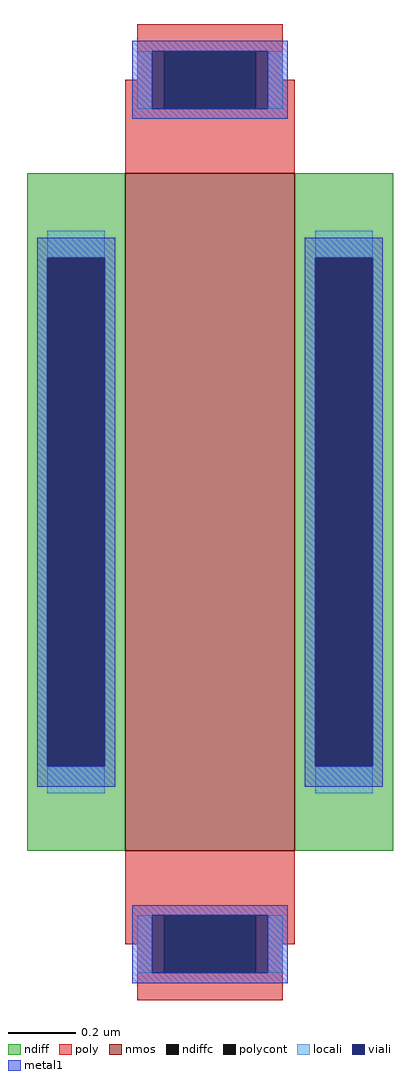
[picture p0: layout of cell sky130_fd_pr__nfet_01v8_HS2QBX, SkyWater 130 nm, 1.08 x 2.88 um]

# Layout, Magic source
magic
tech sky130A
magscale 1 2
<< nmos >>
rect -50 -200 50 200
<< ndiff >>
rect -108 150 -50 200
rect -108 -150 -96 150
rect -62 -150 -50 150
rect -108 -200 -50 -150
rect 50 150 108 200
rect 50 -150 62 150
rect 96 -150 108 150
rect 50 -200 108 -150
<< ndiffc >>
rect -96 -150 -62 150
rect 62 -150 96 150
<< poly >>
rect -43 272 43 288
rect -43 255 -27 272
rect -50 238 -27 255
rect 27 255 43 272
rect 27 238 50 255
rect -50 200 50 238
rect -50 -238 50 -200
rect -50 -255 -27 -238
rect -43 -272 -27 -255
rect 27 -255 50 -238
rect 27 -272 43 -255
rect -43 -288 43 -272
<< polycont >>
rect -27 238 27 272
rect -27 -272 27 -238
<< locali >>
rect -43 238 -34 272
rect 34 238 43 272
rect -96 150 -62 166
rect -96 -166 -62 -150
rect 62 150 96 166
rect 62 -166 96 -150
rect -43 -272 -34 -238
rect 34 -272 43 -238
<< viali >>
rect -34 238 -27 272
rect -27 238 27 272
rect 27 238 34 272
rect -96 -150 -62 150
rect 62 -150 96 150
rect -34 -272 -27 -238
rect -27 -272 27 -238
rect 27 -272 34 -238
<< metal1 >>
rect -46 272 46 278
rect -46 238 -34 272
rect 34 238 46 272
rect -46 232 46 238
rect -102 150 -56 162
rect -102 -150 -96 150
rect -62 -150 -56 150
rect -102 -162 -56 -150
rect 56 150 102 162
rect 56 -150 62 150
rect 96 -150 102 150
rect 56 -162 102 -150
rect -46 -238 46 -232
rect -46 -272 -34 -238
rect 34 -272 46 -238
rect -46 -278 46 -272
<< properties >>
string gencell sky130_fd_pr__nfet_01v8
string parameters w 2 l 0.5 m 1 nf 1 diffcov 80 polycov 80 guard 0 glc 1 grc 1 gtc 1 gbc 1 tbcov 100 rlcov 100 topc 1 botc 1 poverlap 0 doverlap 1 lmin 0.15 wmin 0.42 compatible {sky130_fd_pr__nfet_01v8 sky130_fd_pr__nfet_01v8_lvt  sky130_fd_bs_flash__special_sonosfet_star  sky130_fd_pr__nfet_g5v0d10v5 sky130_fd_pr__nfet_05v0_nvt  sky130_fd_pr__nfet_03v3_nvt} full_metal 1 viasrc 80 viadrn 80 viagate 100 viagb 0 viagr 0 viagl 0 viagt 0
string library sky130
<< end >>
